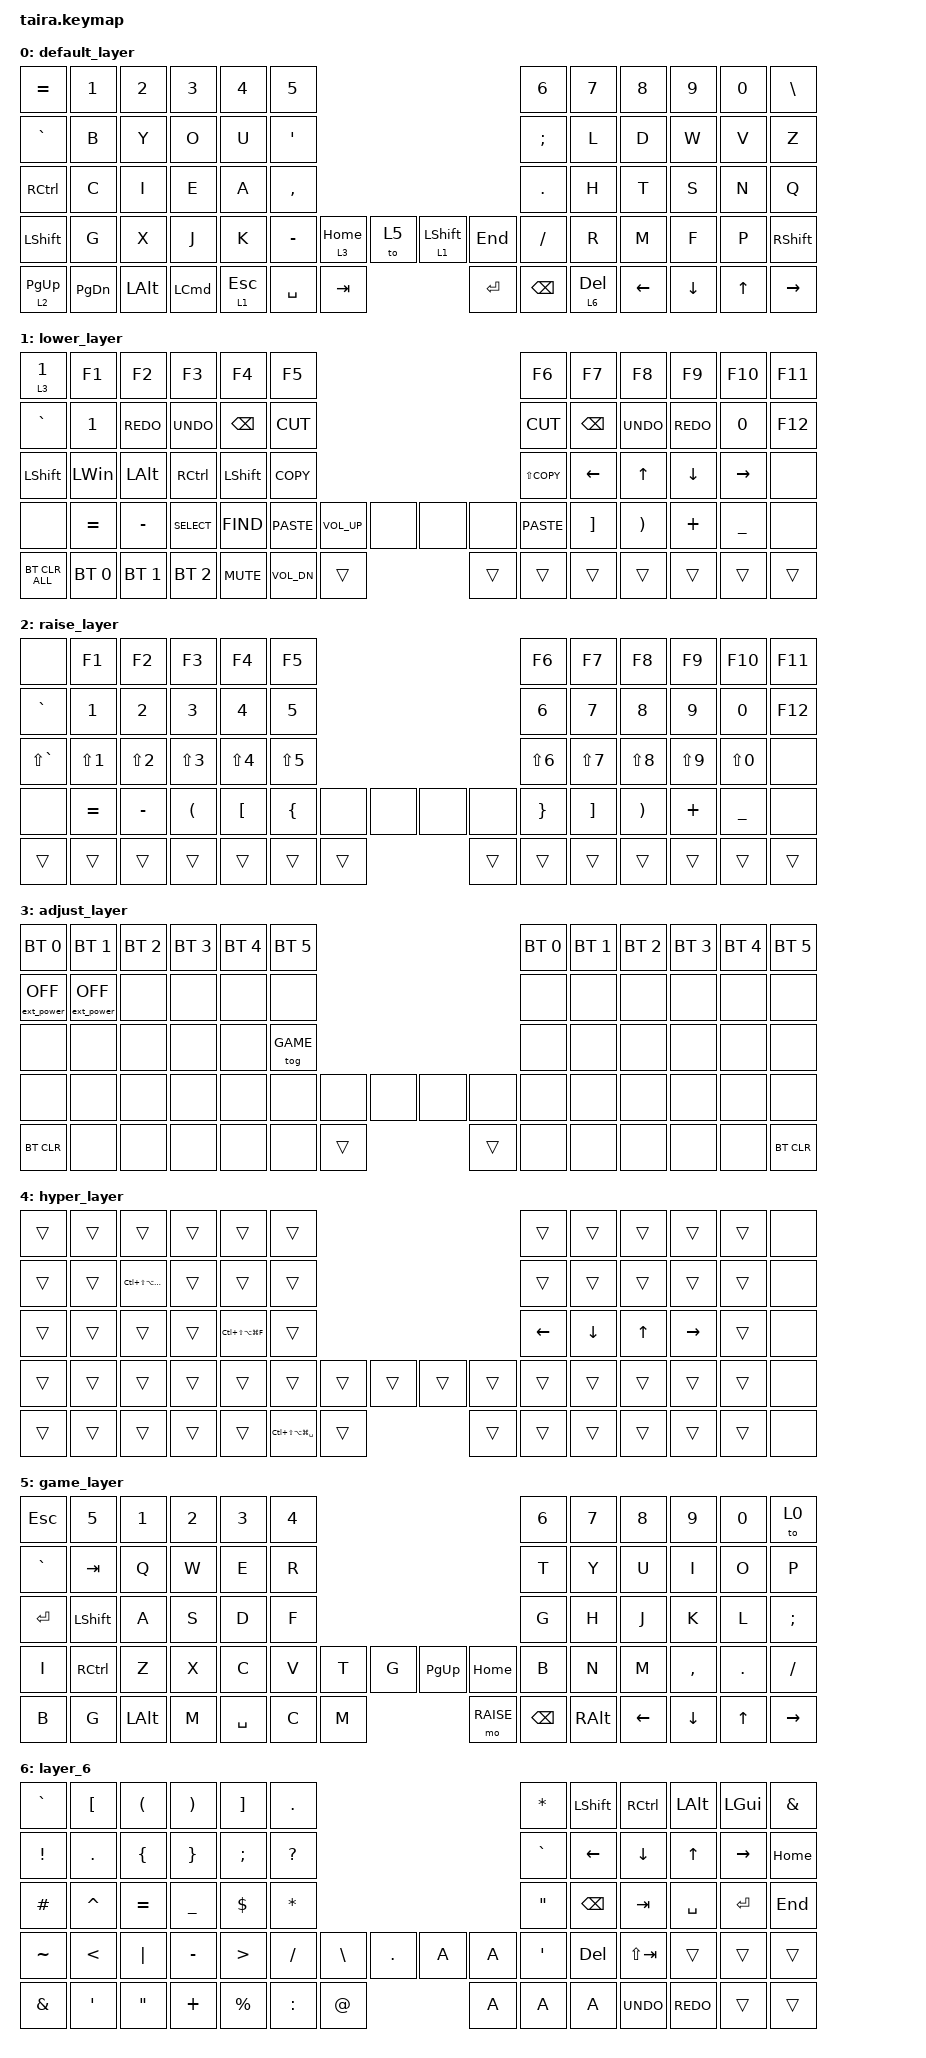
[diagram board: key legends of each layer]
/*
 * Copyright (c) 2020 The ZMK Contributors
 *
 * SPDX-License-Identifier: MIT
 */

#include <behaviors.dtsi>
#include <dt-bindings/zmk/bt.h>
#include <dt-bindings/zmk/ext_power.h>
#include <dt-bindings/zmk/keys.h>

#define DEFAULT 0
#define LOWER   1
#define RAISE   2
#define ADJUST  3
#define HYPER   4
#define GAME    5

/ {
    conditional_layers { compatible = "zmk,conditional-layers"; };

    keymap {
        compatible = "zmk,keymap";

        default_layer {
            /* QWERTY
 * .----------------------------------------------------------------------------------------------------------------------------------.
 * |  `   |   1  |   2  |   3  |   4  |   5  |                                              |   6  |   7  |   8  |   9  |   0  | PScr |
 * |-------------+------+------+------+------+------+------+-------+-+-------+-------+------+------+------+------+------+------+------|
 * | ESC  |   Q  |   W  |   E  |   R  |   T  |                                              |   Y  |   U  |   I  |   O  |   P  |  \   |
 * |-------------+------+------+------+------+------+------+-------+-+-------+-------+------+------+------+------+------+------+------|
 * | Tab  |   A  |   S  |   D  |   F  |   G  |                                              |   H  |   J  |   K  |   L  |   ;  |  '   |
 * |-------------+------+------+------+------+------+------+-------+-+-------+-------+------+------+------+------+------+------+------|
 * | Shift|   Z  |   X  |   C  |   V  |   B  |      | Del  | PGDN  | | PGUP  | Home  |      |   N  |   M  |   ,  |   .  |   /  | Shift|
 * |-------------+------+------+------+------+------+------+-------+-+-------+-------+------+------+------+------+------+------+------|
 * | Ctrl | Alt  | Meta | Alt  |             | Meta | Space| Lower | | Raise | Enter | RAlt |             | LEFT | DOWN | UP   | RIGHT|
 * .----------------------------------------------------------------------------------------------------------------------------------.
 */

            bindings = <
&kp EQUAL    &kp N1         &kp N2        &kp N3    &kp N4  &kp N5                                                                                       &kp N6         &kp N7  &kp N8    &kp N9    &kp N0        &kp BACKSLASH
&kp GRAVE    &kp B          &kp Y         &kp O     &kp U   &kp SQT                                                                                      &kp SEMICOLON  &kp L   &kp D     &kp W     &kp V         &kp Z
&kp RCTRL    &kp C          &kp I         &kp E     &kp A   &kp COMMA                                                                                    &kp PERIOD     &kp H   &kp T     &kp S     &kp N         &kp Q
&kp LSHFT    &kp G          &kp X         &kp J     &kp K   &kp MINUS                &lt 3 HOME  &to 5    &lt 1 LEFT_SHIFT  &kp END                      &kp SLASH      &kp R   &kp M     &kp F     &kp P         &kp RSHFT
&lt 2 PG_UP  &kp PAGE_DOWN  &kp LEFT_ALT  &kp LCMD                     &lt 1 ESCAPE  &kp SPACE   &kp TAB  &kp ENTER         &kp BACKSPACE  &lt 6 DELETE                         &kp LEFT  &kp DOWN  &kp UP_ARROW  &kp RIGHT
            >;
        };

        lower_layer {
            /* QWERTY
 * .----------------------------------------------------------------------------------------------------------------------------------.
 * |  `   |   1  |   2  |   3  |   4  |   5  |                                              |   6  |   7  |   8  |   9  |   0  | PScr |
 * |-------------+------+------+------+------+------+------+-------+-+-------+-------+------+------+------+------+------+------+------|
 * | ESC  |   Q  |   W  |   E  |   R  |   T  |                                              |   Y  |   U  |   I  |   O  |   P  |  \   |
 * |-------------+------+------+------+------+------+------+-------+-+-------+-------+------+------+------+------+------+------+------|
 * | Tab  |   A  |   S  |   D  |   F  |   G  |                                              |   H  |   J  |   K  |   L  |   ;  |  '   |
 * |-------------+------+------+------+------+------+------+-------+-+-------+-------+------+------+------+------+------+------+------|
 * | Shift|   Z  |   X  |   C  |   V  |   B  |      | Del  | PGDN  | | PGUP  | Home  |      |   N  |   M  |   ,  |   .  |   /  | Shift|
 * |-------------+------+------+------+------+------+------+-------+-+-------+-------+------+------+------+------+------+------+------|
 * | Ctrl | Alt  | Meta | Alt  |             | Meta | Space| Lower | | Raise | Enter | RAlt |             | LEFT | DOWN | UP   | RIGHT|
 * .----------------------------------------------------------------------------------------------------------------------------------.
 */

            bindings = <
&lt 3 NUMBER_1  &kp F1        &kp F2        &kp F3        &kp F4          &kp F5                                                                 &kp F6          &kp F7         &kp F8        &kp F9      &kp F10    &kp F11
&kp GRAVE       &kp N1        &kp K_REDO    &kp K_UNDO    &kp BACKSPACE   &kp K_CUT                                                              &kp K_CUT       &kp BACKSPACE  &kp K_UNDO    &kp K_REDO  &kp N0     &kp F12
&kp LEFT_SHIFT  &kp LEFT_WIN  &kp LEFT_ALT  &kp RCTRL     &kp LEFT_SHIFT  &kp K_COPY                                                             &kp LS(K_COPY)  &kp LEFT       &kp UP_ARROW  &kp DOWN    &kp RIGHT  &none
&none           &kp EQUAL     &kp MINUS     &kp K_SELECT  &kp K_FIND      &kp K_PASTE              &kp C_VOL_UP  &none   &none   &none           &kp K_PASTE     &kp RBKT       &kp RPAR      &kp PLUS    &kp UNDER  &none
&bt BT_CLR_ALL  &bt BT_SEL 0  &bt BT_SEL 1  &bt BT_SEL 2                               &kp C_MUTE  &kp C_VOL_DN  &trans  &trans  &trans  &trans                                 &trans        &trans      &trans     &trans
            >;
        };

        raise_layer {
            /* QWERTY
 * .----------------------------------------------------------------------------------------------------------------------------------.
 * |  `   |   1  |   2  |   3  |   4  |   5  |                                              |   6  |   7  |   8  |   9  |   0  | PScr |
 * |-------------+------+------+------+------+------+------+-------+-+-------+-------+------+------+------+------+------+------+------|
 * | ESC  |   Q  |   W  |   E  |   R  |   T  |                                              |   Y  |   U  |   I  |   O  |   P  |  \   |
 * |-------------+------+------+------+------+------+------+-------+-+-------+-------+------+------+------+------+------+------+------|
 * | Tab  |   A  |   S  |   D  |   F  |   G  |                                              |   H  |   J  |   K  |   L  |   ;  |  '   |
 * |-------------+------+------+------+------+------+------+-------+-+-------+-------+------+------+------+------+------+------+------|
 * | Shift|   Z  |   X  |   C  |   V  |   B  |      | Del  | PGDN  | | PGUP  | Home  |      |   N  |   M  |   ,  |   .  |   /  | Shift|
 * |-------------+------+------+------+------+------+------+-------+-+-------+-------+------+------+------+------+------+------+------|
 * | Ctrl | Alt  | Meta | Alt  |             | Meta | Space| Lower | | Raise | Enter | RAlt |             | LEFT | DOWN | UP   | RIGHT|
 * .----------------------------------------------------------------------------------------------------------------------------------.
 */

            bindings = <
&none          &kp F1      &kp F2      &kp F3      &kp F4      &kp F5                                                      &kp F6      &kp F7      &kp F8      &kp F9      &kp F10     &kp F11
&kp GRAVE      &kp N1      &kp N2      &kp N3      &kp N4      &kp N5                                                      &kp N6      &kp N7      &kp N8      &kp N9      &kp N0      &kp F12
&kp LS(GRAVE)  &kp LS(N1)  &kp LS(N2)  &kp LS(N3)  &kp LS(N4)  &kp LS(N5)                                                  &kp LS(N6)  &kp LS(N7)  &kp LS(N8)  &kp LS(N9)  &kp LS(N0)  &none
&none          &kp EQUAL   &kp MINUS   &kp LPAR    &kp LBKT    &kp LBRC            &none   &none   &none   &none           &kp RBRC    &kp RBKT    &kp RPAR    &kp PLUS    &kp UNDER   &none
&trans         &trans      &trans      &trans                              &trans  &trans  &trans  &trans  &trans  &trans                          &trans      &trans      &trans      &trans
            >;
        };

        adjust_layer {
            /* QWERTY
 * .----------------------------------------------------------------------------------------------------------------------------------.
 * |  `   |   1  |   2  |   3  |   4  |   5  |                                              |   6  |   7  |   8  |   9  |   0  | PScr |
 * |-------------+------+------+------+------+------+------+-------+-+-------+-------+------+------+------+------+------+------+------|
 * | ESC  |   Q  |   W  |   E  |   R  |   T  |                                              |   Y  |   U  |   I  |   O  |   P  |  \   |
 * |-------------+------+------+------+------+------+------+-------+-+-------+-------+------+------+------+------+------+------+------|
 * | Tab  |   A  |   S  |   D  |   F  |   G  |                                              |   H  |   J  |   K  |   L  |   ;  |  '   |
 * |-------------+------+------+------+------+------+------+-------+-+-------+-------+------+------+------+------+------+------+------|
 * | Shift|   Z  |   X  |   C  |   V  |   B  |      | Del  | PGDN  | | PGUP  | Home  |      |   N  |   M  |   ,  |   .  |   /  | Shift|
 * |-------------+------+------+------+------+------+------+-------+-+-------+-------+------+------+------+------+------+------+------|
 * | Ctrl | Alt  | Meta | Alt  |             | Meta | Space| Lower | | Raise | Enter | RAlt |             | LEFT | DOWN | UP   | RIGHT|
 * .----------------------------------------------------------------------------------------------------------------------------------.
 */

            bindings = <
&bt BT_SEL 0       &bt BT_SEL 1       &bt BT_SEL 2  &bt BT_SEL 3  &bt BT_SEL 4  &bt BT_SEL 5                                              &bt BT_SEL 0  &bt BT_SEL 1  &bt BT_SEL 2  &bt BT_SEL 3  &bt BT_SEL 4  &bt BT_SEL 5
&ext_power EP_OFF  &ext_power EP_OFF  &none         &none         &none         &none                                                     &none         &none         &none         &none         &none         &none
&none              &none              &none         &none         &none         &tog GAME                                                 &none         &none         &none         &none         &none         &none
&none              &none              &none         &none         &none         &none                &none  &none   &none   &none         &none         &none         &none         &none         &none         &none
&bt BT_CLR         &none              &none         &none                                     &none  &none  &trans  &trans  &none  &none                              &none         &none         &none         &bt BT_CLR
            >;
        };

        hyper_layer {
            /* QWERTY
 * .----------------------------------------------------------------------------------------------------------------------------------.
 * |  `   |   1  |   2  |   3  |   4  |   5  |                                              |   6  |   7  |   8  |   9  |   0  | PScr |
 * |-------------+------+------+------+------+------+------+-------+-+-------+-------+------+------+------+------+------+------+------|
 * | ESC  |   Q  |   W  |   E  |   R  |   T  |                                              |   Y  |   U  |   I  |   O  |   P  |  \   |
 * |-------------+------+------+------+------+------+------+-------+-+-------+-------+------+------+------+------+------+------+------|
 * | Tab  |   A  |   S  |   D  |   F  |   G  |                                              |   H  |   J  |   K  |   L  |   ;  |  '   |
 * |-------------+------+------+------+------+------+------+-------+-+-------+-------+------+------+------+------+------+------+------|
 * | Shift|   Z  |   X  |   C  |   V  |   B  |      | Del  | PGDN  | | PGUP  | Home  |      |   N  |   M  |   ,  |   .  |   /  | Shift|
 * |-------------+------+------+------+------+------+------+-------+-+-------+-------+------+------+------+------+------+------+------|
 * | Ctrl | Alt  | Meta | Alt  |             | Meta | Space| Lower | | Raise | Enter | RAlt |             | LEFT | DOWN | UP   | RIGHT|
 * .----------------------------------------------------------------------------------------------------------------------------------.
 */

            bindings = <
&trans  &trans  &trans                 &trans  &trans                 &trans                                                                     &trans    &trans    &trans  &trans     &trans  &none
&trans  &trans  &kp LC(LS(LA(LG(W))))  &trans  &trans                 &trans                                                                     &trans    &trans    &trans  &trans     &trans  &none
&trans  &trans  &trans                 &trans  &kp LC(LS(LA(LG(F))))  &trans                                                                     &kp LEFT  &kp DOWN  &kp UP  &kp RIGHT  &trans  &none
&trans  &trans  &trans                 &trans  &trans                 &trans          &trans                     &trans  &trans  &trans          &trans    &trans    &trans  &trans     &trans  &none
&trans  &trans  &trans                 &trans                                 &trans  &kp LC(LS(LA(LG(SPACE))))  &trans  &trans  &trans  &trans                      &trans  &trans     &trans  &none
            >;
        };

        game_layer {
            bindings = <
&kp ESCAPE  &kp N5          &kp NUMBER_1  &kp NUMBER_2  &kp NUMBER_3  &kp NUMBER_4                                                          &kp N6  &kp N7  &kp N8    &kp N9     &kp N0      &to 0
&kp GRAVE   &kp TAB         &kp Q         &kp W         &kp E         &kp R                                                                 &kp T   &kp Y   &kp U     &kp I      &kp O       &kp P
&kp ENTER   &kp LEFT_SHIFT  &kp A         &kp S         &kp D         &kp F                                                                 &kp G   &kp H   &kp J     &kp K      &kp L       &kp SEMICOLON
&kp I       &kp RCTRL       &kp Z         &kp X         &kp C         &kp V                    &kp T  &kp G  &kp PG_UP  &kp HOME            &kp B   &kp N   &kp M     &kp COMMA  &kp PERIOD  &kp SLASH
&kp B       &kp G           &kp LEFT_ALT  &kp M                                     &kp SPACE  &kp C  &kp M  &mo RAISE  &kp BSPC  &kp RALT                  &kp LEFT  &kp DOWN   &kp UP      &kp RIGHT
            >;
        };

        layer_6 {
            bindings = <
&kp GRAVE      &kp LEFT_BRACKET  &kp LEFT_PARENTHESIS  &kp RIGHT_PARENTHESIS  &kp RIGHT_BRACKET  &kp DOT                                                                 &kp ASTERISK       &kp LEFT_SHIFT  &kp RCTRL    &kp LEFT_ALT  &kp LEFT_GUI  &kp AMPERSAND
&kp EXCL       &kp PERIOD        &kp LEFT_BRACE        &kp RIGHT_BRACE        &kp SEMI           &kp QUESTION                                                            &kp GRAVE          &kp LEFT        &kp DOWN     &kp UP_ARROW  &kp RIGHT     &kp HOME
&kp HASH       &kp CARET         &kp EQUAL             &kp UNDER              &kp DOLLAR         &kp ASTERISK                                                            &kp DOUBLE_QUOTES  &kp BACKSPACE   &kp TAB      &kp SPACE     &kp ENTER     &kp END
&kp TILDE      &kp LESS_THAN     &kp PIPE              &kp MINUS              &kp GREATER_THAN   &kp SLASH                  &kp BACKSLASH  &kp DOT  &kp A  &kp A         &kp SQT            &kp DELETE      &kp LS(TAB)  &trans        &trans        &trans
&kp AMPERSAND  &kp SINGLE_QUOTE  &kp DOUBLE_QUOTES     &kp PLUS                                                &kp PERCENT  &kp COLON      &kp AT   &kp A  &kp A  &kp A                                     &kp K_UNDO   &kp K_REDO    &trans        &trans
            >;
        };
    };
};
